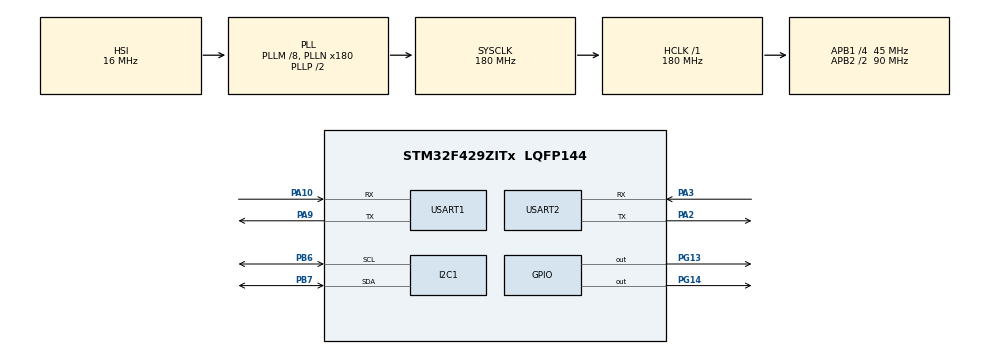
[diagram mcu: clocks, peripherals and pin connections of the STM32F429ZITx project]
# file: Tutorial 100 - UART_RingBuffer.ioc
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Dma.Request0=USART2_RX
Dma.Request1=USART1_RX
Dma.USART1_RX.1.Direction=DMA_PERIPH_TO_MEMORY
Dma.USART1_RX.1.FIFOMode=DMA_FIFOMODE_DISABLE
Dma.USART1_RX.1.Instance=DMA2_Stream2
Dma.USART1_RX.1.MemDataAlignment=DMA_MDATAALIGN_BYTE
Dma.USART1_RX.1.MemInc=DMA_MINC_ENABLE
Dma.USART1_RX.1.Mode=DMA_CIRCULAR
Dma.USART1_RX.1.PeriphDataAlignment=DMA_PDATAALIGN_BYTE
Dma.USART1_RX.1.PeriphInc=DMA_PINC_DISABLE
Dma.USART1_RX.1.Priority=DMA_PRIORITY_LOW
Dma.USART2_RX.0.Direction=DMA_PERIPH_TO_MEMORY
Dma.USART2_RX.0.FIFOMode=DMA_FIFOMODE_DISABLE
Dma.USART2_RX.0.Instance=DMA1_Stream5
Dma.USART2_RX.0.MemDataAlignment=DMA_MDATAALIGN_BYTE
Dma.USART2_RX.0.MemInc=DMA_MINC_ENABLE
Dma.USART2_RX.0.Mode=DMA_CIRCULAR
Dma.USART2_RX.0.PeriphDataAlignment=DMA_PDATAALIGN_BYTE
Dma.USART2_RX.0.PeriphInc=DMA_PINC_DISABLE
Dma.USART2_RX.0.Priority=DMA_PRIORITY_LOW
Mcu.Family=STM32F4
Mcu.Name=STM32F429ZITx
Mcu.Package=LQFP144
NVIC.DMA1_Stream5_IRQn=true\:0\:0\:false\:false\:true\:false\:true
NVIC.DMA2_Stream2_IRQn=true\:0\:0\:false\:false\:true\:false\:true
NVIC.PriorityGroup=NVIC_PRIORITYGROUP_4
NVIC.USART1_IRQn=true\:0\:0\:false\:false\:true\:true\:true
NVIC.USART2_IRQn=true\:0\:0\:false\:false\:true\:true\:true
PA10.Mode=Asynchronous
PA10.Signal=USART1_RX
PA2.Mode=Asynchronous
PA2.Signal=USART2_TX
PA3.Mode=Asynchronous
PA3.Signal=USART2_RX
PA9.Mode=Asynchronous
PA9.Signal=USART1_TX
PB6.Mode=I2C
PB6.Signal=I2C1_SCL
PB7.Mode=I2C
PB7.Signal=I2C1_SDA
PG13.Signal=GPIO_Output
PG14.Signal=GPIO_Output
PH0/OSC_IN.Mode=HSE-External-Oscillator
PH0/OSC_IN.Signal=RCC_OSC_IN
PH1/OSC_OUT.Mode=HSE-External-Oscillator
PH1/OSC_OUT.Signal=RCC_OSC_OUT
ProjectManager.HeapSize=0x200
ProjectManager.StackSize=0x400
ProjectManager.TargetToolchain=STM32CubeIDE
RCC.48MHZClocksFreq_Value=90000000
RCC.AHBFreq_Value=180000000
RCC.APB1CLKDivider=RCC_HCLK_DIV4
RCC.APB1Freq_Value=45000000
RCC.APB1TimFreq_Value=90000000
RCC.APB2CLKDivider=RCC_HCLK_DIV2
RCC.APB2Freq_Value=90000000
RCC.APB2TimFreq_Value=180000000
RCC.CortexFreq_Value=180000000
RCC.HCLKFreq_Value=180000000
RCC.HSE_VALUE=8000000
RCC.HSI_VALUE=16000000
RCC.LSE_VALUE=32768
RCC.PLLM=8
RCC.PLLN=180
RCC.SYSCLKFreq_VALUE=180000000
RCC.SYSCLKSource=RCC_SYSCLKSOURCE_PLLCLK
RCC.VCOOutputFreq_Value=360000000
USART1.VirtualMode=VM_ASYNC
USART2.VirtualMode=VM_ASYNC
board=custom

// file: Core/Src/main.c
/* USER CODE BEGIN Header */
/**
  ******************************************************************************
  * @file           : main.c
  * @brief          : Main program body
  ******************************************************************************
  * @attention
  *
  * <h2><center>&copy; Copyright (c) 2021 STMicroelectronics.
  * All rights reserved.</center></h2>
  *
  * This software component is licensed by ST under BSD 3-Clause license,
  * the "License"; You may not use this file except in compliance with the
  * License. You may obtain a copy of the License at:
  *                        opensource.org/licenses/BSD-3-Clause
  *
  ******************************************************************************
  */
/* USER CODE END Header */
#include "main.h"
#include "dma.h"
#include "i2c.h"
#include "usart.h"
#include "gpio.h"

/* USER CODE BEGIN Includes */
#include "utility.h"
#include "uart.h"
/* USER CODE END Includes */

void SystemClock_Config(void);
/* USER CODE BEGIN PFP */
int _write(int file, char *ptr, int len)
{
  HAL_UART_Transmit(&huart1, (uint8_t *)ptr, len, 10);
  return len;
}
/* USER CODE END PFP */

int main(void)
{

  /* MCU Configuration--------------------------------------------------------*/

  /* Reset of all peripherals, Initializes the Flash interface and the Systick. */
  HAL_Init();

  /* Configure the system clock */
  SystemClock_Config();

  /* USER CODE BEGIN SysInit */
  MX_DMA_Init();
  /* USER CODE END SysInit */

  /* Initialize all configured peripherals */
  MX_GPIO_Init();
  MX_USART1_UART_Init();
  MX_DMA_Init();
  MX_USART2_UART_Init();
  MX_I2C1_Init();
  /* USER CODE BEGIN 2 */

  uartOpen(DEF_UART1, 115200);
  uartOpen(DEF_UART2, 115200);

  /* USER CODE END 2 */

  /* Infinite loop */
  /* USER CODE BEGIN WHILE */

  uint32_t time;
  uint8_t rxcount;
  uint8_t rxdata[256];

  while (1)
  {
    /* USER CODE END WHILE */

    /* USER CODE BEGIN 3 */

    // LED Blinking --------------------
    if (HAL_GetTick() - time > 100)
    {
      time = HAL_GetTick();

      HAL_GPIO_TogglePin(GPIOG, GPIO_PIN_13);

      rxcount = uartAvailable(DEF_UART1);
      if (rxcount > 1)
      {
        for (int i = 0; i < rxcount; i++)
        {
          rxdata[i] = uartRead(DEF_UART1);
        }
        uartWrite(DEF_UART1, &rxdata[0], rxcount);
      }
    }

  }
  /* USER CODE END 3 */
}

void SystemClock_Config(void)
{
  RCC_OscInitTypeDef RCC_OscInitStruct = {0};
  RCC_ClkInitTypeDef RCC_ClkInitStruct = {0};

  /** Configure the main internal regulator output voltage
  */
  __HAL_RCC_PWR_CLK_ENABLE();
  __HAL_PWR_VOLTAGESCALING_CONFIG(PWR_REGULATOR_VOLTAGE_SCALE1);
  /** Initializes the RCC Oscillators according to the specified parameters
  * in the RCC_OscInitTypeDef structure.
  */
  RCC_OscInitStruct.OscillatorType = RCC_OSCILLATORTYPE_HSI;
  RCC_OscInitStruct.HSIState = RCC_HSI_ON;
  RCC_OscInitStruct.HSICalibrationValue = RCC_HSICALIBRATION_DEFAULT;
  RCC_OscInitStruct.PLL.PLLState = RCC_PLL_ON;
  RCC_OscInitStruct.PLL.PLLSource = RCC_PLLSOURCE_HSI;
  RCC_OscInitStruct.PLL.PLLM = 8;
  RCC_OscInitStruct.PLL.PLLN = 180;
  RCC_OscInitStruct.PLL.PLLP = RCC_PLLP_DIV2;
  RCC_OscInitStruct.PLL.PLLQ = 4;
  if (HAL_RCC_OscConfig(&RCC_OscInitStruct) != HAL_OK)
  {
    Error_Handler();
  }
  /** Activate the Over-Drive mode
  */
  if (HAL_PWREx_EnableOverDrive() != HAL_OK)
  {
    Error_Handler();
  }
  /** Initializes the CPU, AHB and APB buses clocks
  */
  RCC_ClkInitStruct.ClockType = RCC_CLOCKTYPE_HCLK|RCC_CLOCKTYPE_SYSCLK
                              |RCC_CLOCKTYPE_PCLK1|RCC_CLOCKTYPE_PCLK2;
  RCC_ClkInitStruct.SYSCLKSource = RCC_SYSCLKSOURCE_PLLCLK;
  RCC_ClkInitStruct.AHBCLKDivider = RCC_SYSCLK_DIV1;
  RCC_ClkInitStruct.APB1CLKDivider = RCC_HCLK_DIV4;
  RCC_ClkInitStruct.APB2CLKDivider = RCC_HCLK_DIV2;

  if (HAL_RCC_ClockConfig(&RCC_ClkInitStruct, FLASH_LATENCY_5) != HAL_OK)
  {
    Error_Handler();
  }
}

void Error_Handler(void)
{
  __disable_irq();
  while (1)
  {
  }
}

/************************ (C) COPYRIGHT STMicroelectronics *****END OF FILE****/
